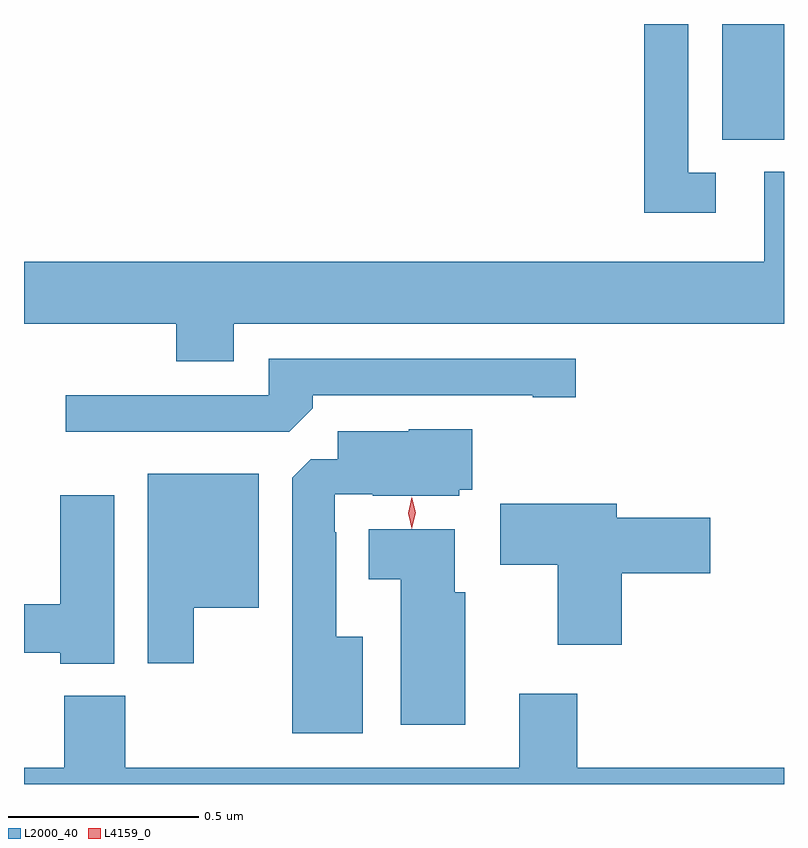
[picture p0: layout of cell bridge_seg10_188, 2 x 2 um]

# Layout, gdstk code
import gdstk
lib = gdstk.Library(unit=1e-6, precision=1e-09)
def R(c, l, rs):  # rectangles x0, y0, x1, y1
    for r in rs: c.add(gdstk.rectangle(r[:2], r[2:], *l))
def P(c, l, *ps):  # polygons
    for p in ps: c.add(gdstk.Polygon(p, *l))
L2000_40 = (2000, 40)
L4159_0 = (4159, 0)

bridge_seg10_188 = lib.new_cell('bridge_seg10_188')
R(bridge_seg10_188, L2000_40, [(161.546,1251.517,161.709,1251.821)])
P(bridge_seg10_188, L2000_40, [(161.53,1251.429),(161.457,1251.429),(161.457,1251.821),(161.341,1251.821),(161.341,1251.324),(161.53,1251.324)],
  [(160.261,1251.032),(161.709,1251.032),(161.709,1251.432),(161.657,1251.432),(161.657,1251.196),(159.709,1251.196),(159.709,1251.032),(160.109,1251.032),(160.109,1250.933),(160.261,1250.933)],
  [(160.469,1250.81),(160.469,1250.844),(161.048,1250.844),(161.048,1250.839),(161.161,1250.839),(161.161,1250.94),(160.353,1250.94),(160.353,1250.844),(159.819,1250.844),(159.819,1250.748),(160.407,1250.748)],
  [(160.6,1250.209),(160.531,1250.209),(160.531,1250.483),(160.527,1250.483),(160.527,1250.583),(160.627,1250.583),(160.627,1250.579),(160.854,1250.579),(160.854,1250.595),(160.889,1250.595),(160.889,1250.755),(160.722,1250.755),(160.722,1250.749),(160.535,1250.749),(160.535,1250.676),(160.464,1250.676),(160.415,1250.627),(160.415,1249.955),(160.6,1249.955)],
  [(160.156,1250.285),(160.327,1250.285),(160.327,1250.638),(160.034,1250.638),(160.034,1250.139),(160.156,1250.139)],
  [(159.946,1250.581),(159.805,1250.581),(159.805,1250.294),(159.709,1250.294),(159.709,1250.166),(159.805,1250.166),(159.805,1250.138),(159.946,1250.138)],
  [(161.282,1250.375),(161.515,1250.375),(161.515,1250.522),(161.269,1250.522),(161.269,1250.559),(160.962,1250.559),(160.962,1250.398),(161.114,1250.398),(161.114,1250.187),(161.282,1250.187)],
  [(160.87,1250.325),(160.843,1250.325),(160.843,1250.491),(160.616,1250.491),(160.616,1250.36),(160.7,1250.36),(160.7,1249.977),(160.87,1249.977)],
  [(161.709,1249.864),(161.165,1249.864),(161.165,1250.059),(161.012,1250.059),(161.012,1249.864),(159.975,1249.864),(159.975,1250.053),(159.815,1250.053),(159.815,1249.864),(159.709,1249.864),(159.709,1249.821),(161.709,1249.821)])
P(bridge_seg10_188, L4159_0, [(160.73,1250.493),(160.73,1250.494),(160.72,1250.534),(160.729,1250.576),(160.729,1250.576),(160.73,1250.576),(160.74,1250.535),(160.73,1250.494)])

lib.write_gds('bridge_seg10_188.gds')
